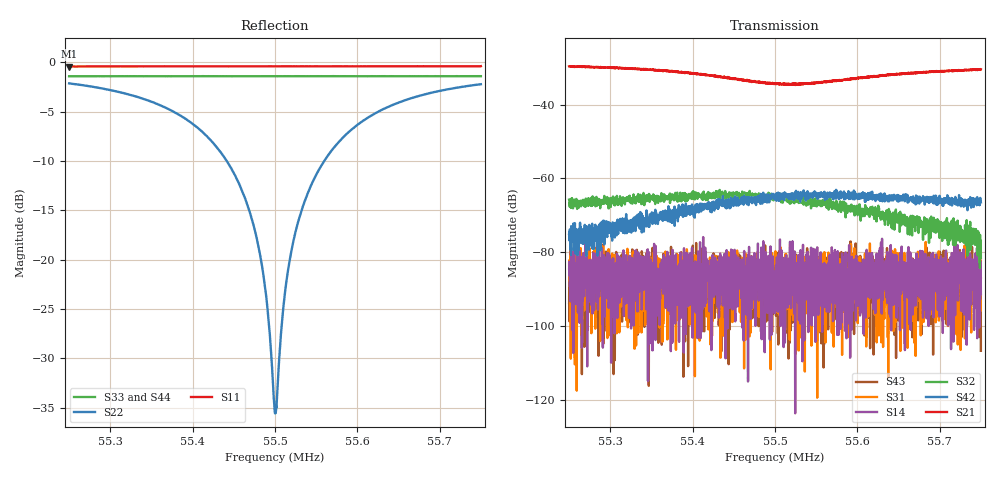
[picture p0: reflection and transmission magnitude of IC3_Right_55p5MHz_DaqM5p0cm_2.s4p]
#  HZ  S  DB  R  50.00
! Rohde & Schwarz Vector Network Analyzer
! Rohde-Schwarz,ZNB8-4Port,1311601044102961,2.82
! Created: UTC 2/13/2019, 1:48:38 PM
! freq[Hz]  db:S11  ang:S11  db:S12  ang:S12  db:S13  ang:S13  db:S14  ang:S14
!  db:S21  ang:S21  db:S22  ang:S22  db:S23  ang:S23  db:S24  ang:S24
!  db:S31  ang:S31  db:S32  ang:S32  db:S33  ang:S33  db:S34  ang:S34
!  db:S41  ang:S41  db:S42  ang:S42  db:S43  ang:S43  db:S44  ang:S44
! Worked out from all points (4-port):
!   2001 points, 55.25 MHz to 55.75 MHz, reference 50 ohm
!   strongest paths, dB at 55.25 MHz, 55.375 MHz, 55.5 MHz, 55.625 MHz, 55.75 MHz:
!     S21: -29.6, -30.9, -34.2, -32.2, -30.4
!     S42: -75.0, -72.0, -65.2, -65.7, -66.5
!     S32: -65.7, -65.3, -64.7, -69.3, -81.6
!     S14: -84.6, -87.8, -85.5, -83.3, -91.4
!     S31: -83.2, -95.8, -94.2, -83.4, -87.1
!     S43: -93.8, -81.4, -93.4, -90.1, -106.7
!   lowest |S11| = -0.4 dB at 55.25 MHz (marker M1), VSWR 40.80, Z = 2.17 + j43.8 ohm
!   |S11| at or under -10 dB: nowhere
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5.525e7  -0.43 97.5  -29.52 71.3  -83.46 -44.7  -84.56 -71.9
         -29.57 71.0  -2.13 -140.5  -65.93 -157.0  -75.47 -18.4
         -83.15 97.9  -65.71 -162.4  -1.41 24.7  -77.79 -131.2
         -79.69 -138.8  -74.98 -5.1  -93.80 123.7  -1.43 31.2
5.5441e7  -0.41 93.9  -32.74 59.6  -95.46 -21.6  -95.45 125.4
          -32.69 58.7  -9.95 173.5  -64.97 164.3  -66.11 -42.4
          -82.86 -35.7  -65.76 159.9  -1.40 22.3  -101.15 -146.6
          -81.31 -155.2  -68.11 -42.1  -89.73 122.6  -1.42 28.8
5.548025e7  -0.41 93.2  -33.87 63.3  -88.06 58.8  -93.08 -51.0
            -33.93 63.5  -18.77 163.6  -64.55 143.7  -66.03 -45.4
            -97.52 -142.7  -65.45 148.5  -1.40 21.8  -104.87 -126.7
            -82.91 128.5  -65.34 -54.3  -88.31 -141.0  -1.43 28.3
5.55005e7  -0.41 92.8  -34.32 67.7  -87.89 -86.9  -86.22 -89.3
           -34.20 68.4  -35.49 -120.5  -64.80 142.6  -65.27 -61.7
           -79.74 -69.4  -64.94 140.5  -1.41 21.6  -101.41 146.8
           -92.14 -159.3  -64.54 -58.6  -89.52 -119.1  -1.42 28.1
5.552075e7  -0.40 92.4  -34.49 74.2  -86.28 158.6  -83.60 77.4
            -34.55 72.9  -18.77 -49.2  -65.48 128.9  -64.73 -66.0
            -85.53 -117.2  -65.22 135.3  -1.40 21.3  -90.12 -121.8
            -79.40 131.3  -64.73 -62.2  -86.24 -140.1  -1.42 27.8
5.556e7  -0.40 91.8  -33.87 82.7  -85.73 -40.6  -91.42 122.1
         -33.72 81.7  -9.98 -59.1  -66.51 113.3  -64.20 -82.2
         -79.99 -51.0  -66.03 121.7  -1.40 20.8  -82.95 150.0
         -85.31 83.1  -63.59 -75.5  -87.72 45.5  -1.42 27.4
5.575e7  -0.39 88.3  -30.48 79.4  -85.91 -19.9  -91.37 160.5
         -30.40 79.1  -2.22 -104.8  -75.72 95.8  -66.16 -123.2
         -87.08 113.1  -81.57 113.7  -1.40 18.5  -91.18 -147.4
         -92.94 79.6  -66.48 -113.0  -106.74 -171.7  -1.42 25.0
